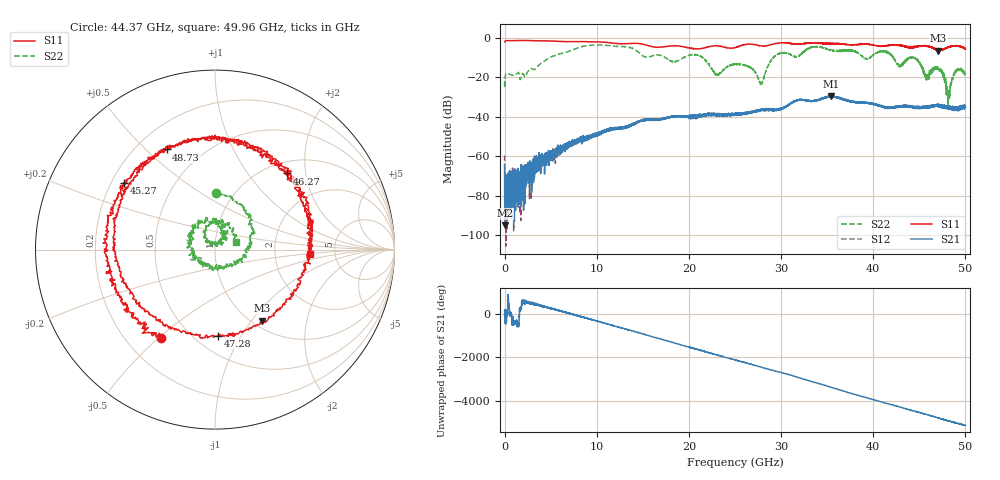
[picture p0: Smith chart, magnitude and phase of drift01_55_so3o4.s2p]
!Created with skrf (http://scikit-rf.org).
# Hz S RI R 50.0
!freq ReS11 ImS11 ReS21 ImS21 ReS12 ImS12 ReS22 ImS22
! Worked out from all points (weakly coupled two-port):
!   10001 points, 300 kHz to 50 GHz, reference 50 ohm
!   highest |S21| = -29.55 dB at 35.44 GHz (marker M1); lowest = -95.0 dB at 45.3 MHz (marker M2)
!   lowest |S11| = -6.5 dB at 47.07 GHz (marker M3), VSWR 2.80, Z = 55.1 - j56.3 ohm
!   |S11| at or under -10 dB: nowhere
!   |S22| runs from -34.4 to -3.6 dB; largest |S21 - S12| = 0.004
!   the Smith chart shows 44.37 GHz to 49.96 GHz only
!   S11 on the Smith chart (normalised r, x): 44.37 GHz: 0.34, -0.51; 45.27 GHz: 0.25, +0.31; 46.27 GHz: 1.22, +1.57; 47.28 GHz: 0.65, -0.80; 48.73 GHz: 0.32, +0.58; 49.96 GHz: 3.25, -0.23
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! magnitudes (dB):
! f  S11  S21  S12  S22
! 300 kHz  -2.1  -64.4  -59.6  -22.1
! 45.3 MHz  -1.7  -95.0  -80.9  -20.8
! 260.3 MHz  -1.4  -81.8  -79.8  -18.0
! 8.335 GHz  -1.9  -51.5  -51.4  -4.5
! 16.67 GHz  -4.8  -41.7  -41.7  -8.7
! 20.97 GHz  -5.6  -39.7  -39.6  -8.8
! 23.08 GHz  -4.1  -38.6  -38.7  -18.8
! 25 GHz  -5.0  -38.5  -39.2  -13.6
! 27.84 GHz  -4.1  -36.3  -36.6  -23.2
! 29.47 GHz  -2.8  -36.7  -36.6  -8.8
! 33.34 GHz  -2.6  -32.0  -32.0  -4.7
! 35.44 GHz  -2.9  -29.5  -29.8  -6.3
! 41.67 GHz  -3.8  -35.7  -35.4  -7.9
! 44.37 GHz  -4.7  -35.0  -35.1  -10.0
! 45.27 GHz  -4.0  -35.4  -35.4  -14.6
! 46.27 GHz  -4.7  -34.4  -34.6  -17.2
! 47.07 GHz  -6.5  -33.9  -34.2  -16.1
! 47.28 GHz  -6.4  -35.1  -34.3  -16.3
! 48.12 GHz  -4.9  -35.2  -35.3  -31.2
! 48.73 GHz  -4.2  -35.6  -34.9  -18.5
! 49.96 GHz  -5.5  -34.9  -34.7  -18.3
! 50 GHz  -5.4  -34.9  -34.6  -18.3
